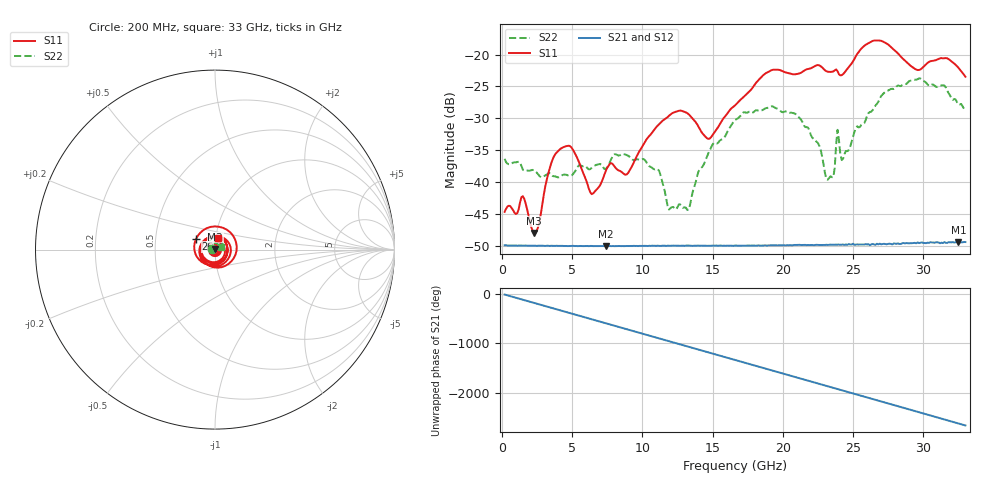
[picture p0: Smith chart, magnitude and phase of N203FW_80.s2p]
# GHZ S RI R 50
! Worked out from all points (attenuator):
!   329 points, 200 MHz to 33 GHz, reference 50 ohm
!   highest |S21| = -49.42 dB at 32.5 GHz (marker M1); lowest = -50.1 dB at 7.4 GHz (marker M2)
!   lowest |S11| = -48.0 dB at 2.3 GHz (marker M3), VSWR 1.01, Z = 50.1 + j0.384 ohm
!   |S11| at or under -10 dB: start of sweep to end of sweep
!   |S22| runs from -44.4 to -23.7 dB; largest |S21 - S12| = 8.8e-05
!   S11 on the Smith chart (normalised r, x): 200 MHz: 1.01, +0.00; 26 GHz: 0.80, +0.10; 33 GHz: 1.03, +0.13
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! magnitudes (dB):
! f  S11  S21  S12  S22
! 200 MHz  -44.7  -50.0  -49.9  -36.4
! 1.5 GHz  -42.2  -50.0  -50.0  -38.1
! 2.3 GHz  -48.0  -50.0  -50.0  -38.2
! 3.8 GHz  -35.7  -50.0  -50.0  -39.1
! 5.7 GHz  -38.1  -50.1  -50.0  -37.5
! 6.4 GHz  -41.9  -50.1  -50.1  -37.8
! 7.4 GHz  -38.3  -50.1  -50.0  -38.0
! 11.2 GHz  -30.9  -50.0  -50.0  -38.3
! 11.9 GHz  -29.6  -50.0  -50.0  -44.3
! 13.3 GHz  -29.4  -50.0  -50.0  -44.4
! 14.7 GHz  -33.2  -50.0  -50.0  -35.5
! 16.6 GHz  -28.0  -50.0  -50.0  -30.3
! 19.3 GHz  -22.4  -49.9  -50.0  -28.1
! 22.1 GHz  -22.0  -49.9  -49.9  -33.0
! 23.2 GHz  -22.7  -49.9  -49.9  -39.6
! 23.6 GHz  -22.6  -49.9  -49.8  -39.2
! 23.9 GHz  -22.6  -49.9  -49.9  -31.8
! 24.2 GHz  -23.2  -49.8  -49.8  -36.6
! 26 GHz  -18.3  -49.8  -49.8  -29.6
! 27.6 GHz  -18.6  -49.7  -49.7  -25.5
! 32.5 GHz  -22.0  -49.4  -49.4  -27.8
! 33 GHz  -23.5  -49.4  -49.5  -28.8
